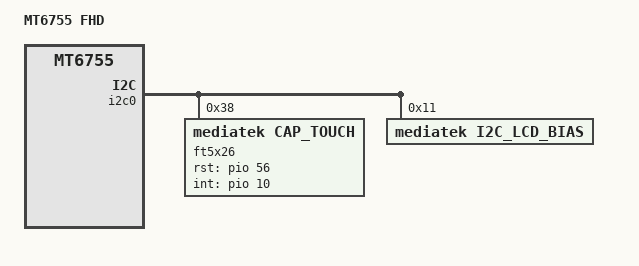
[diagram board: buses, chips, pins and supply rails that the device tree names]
/dts-v1/;

#include "meizu_m6.dts"

/* Common FHD board defaults.  The included MT6755 description supplies the
 * platform devices; this file selects the display and touch variants. */
/ {
	model = "MT6755 FHD";
	compatible = "mediatek,MT6755";

	chosen {
		atag,videolfb-lcmname = "nt35695_fhd_dsi_cmd_truly_nt50358_drv";
	};
};

&touch {
	interrupt-parent = <&eintc>;
	interrupts = <1 2>;
	debounce = <1 0>;
	tpd-resolution = <1080 1920>;
	tpd-max-touch-num = <5>;
	tpd-filter-enable = <1>;
	tpd-filter-pixel-density = <146>;
	tpd-filter-custom-prameters = <0 0 0 0 0 0 0 0 0 0 0 0>;
	tpd-filter-custom-speed = <0 0 0>;
	pinctrl-0 = <&s25_ctp_default>;
	pinctrl-1 = <&s25_ctp_eint_as_int>;
	pinctrl-2 = <&s25_ctp_eint_output0>;
	pinctrl-3 = <&s25_ctp_eint_output1>;
	pinctrl-4 = <&s25_ctp_rst_output0>;
	pinctrl-5 = <&s25_ctp_rst_output1>;
};

&pio {
	s25_ctp_default: s25_ctp_default {
	};

	s25_ctp_eint_as_int: s25_ctp_eint_as_int {
		pins_cmd_dat {
			pins = <PINMUX_GPIO10__FUNC_GPIO10>;
			slew-rate = <0>;
			bias-disable;
		};
	};

	s25_ctp_eint_output0: s25_ctp_eint_output0 {
		pins_cmd_dat {
			pins = <PINMUX_GPIO10__FUNC_GPIO10>;
			slew-rate = <1>;
			output-low;
		};
	};

	s25_ctp_eint_output1: s25_ctp_eint_output1 {
		pins_cmd_dat {
			pins = <PINMUX_GPIO10__FUNC_GPIO10>;
			slew-rate = <1>;
			output-high;
		};
	};

	s25_ctp_rst_output0: s25_ctp_rst_output0 {
		pins_cmd_dat {
			pins = <PINMUX_GPIO56__FUNC_GPIO56>;
			slew-rate = <1>;
			output-low;
		};
	};

	s25_ctp_rst_output1: s25_ctp_rst_output1 {
		pins_cmd_dat {
			pins = <PINMUX_GPIO56__FUNC_GPIO56>;
			slew-rate = <1>;
			output-high;
		};
	};
};

&mtkfb {
	pinctrl-names = "default", "mode_te_gpio", "mode_te_te", "lcm_rst_out0_gpio",
		"lcm_rst_out1_gpio", "lcd_bias_enp0_gpio", "lcd_bias_enp1_gpio",
		"lcd_bias_enn0_gpio", "lcd_bias_enn1_gpio";
	pinctrl-5 = <&s25_lcd_bias_enp0>;
	pinctrl-6 = <&s25_lcd_bias_enp1>;
	pinctrl-7 = <&s25_lcd_bias_enn0>;
	pinctrl-8 = <&s25_lcd_bias_enn1>;
};

&pio {
	s25_lcd_bias_enp0: s25_lcd_bias_enp0 {
		pins_cmd_dat {
			pins = <PINMUX_GPIO43__FUNC_GPIO43>;
			slew-rate = <1>;
			output-low;
		};
	};

	s25_lcd_bias_enp1: s25_lcd_bias_enp1 {
		pins_cmd_dat {
			pins = <PINMUX_GPIO43__FUNC_GPIO43>;
			slew-rate = <1>;
			output-high;
		};
	};

	s25_lcd_bias_enn0: s25_lcd_bias_enn0 {
		pins_cmd_dat {
			pins = <PINMUX_GPIO42__FUNC_GPIO42>;
			slew-rate = <1>;
			output-low;
		};
	};

	s25_lcd_bias_enn1: s25_lcd_bias_enn1 {
		pins_cmd_dat {
			pins = <PINMUX_GPIO42__FUNC_GPIO42>;
			slew-rate = <1>;
			output-high;
		};
	};
};

&i2c0 {
	cap_touch@5d {
		status = "disabled";
	};

	/* Bind the stock-compatible FocalTech path at the panel controller address. */
	ft5x26@38 {
		compatible = "mediatek,cap_touch";
		reg = <0x38>;
		rst-gpio = <&pio 56 0>;
		int-gpio = <&pio 10 0>;
		status = "okay";
	};

	i2c_lcd_bias@3e {
		status = "disabled";
	};

	i2c_lcd_bias@11 {
		compatible = "mediatek,i2c_lcd_bias";
		reg = <0x11>;
		status = "okay";
	};
};
